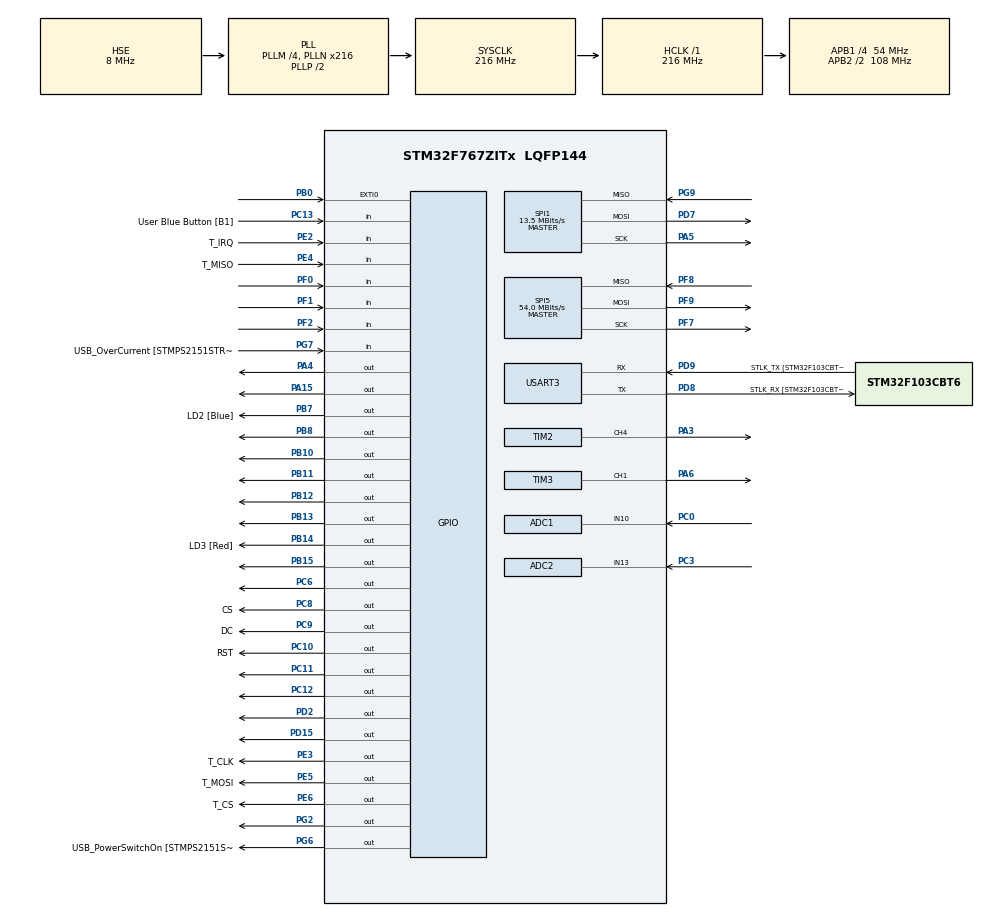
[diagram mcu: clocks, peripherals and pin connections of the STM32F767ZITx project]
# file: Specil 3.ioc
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ADC1.Channel-0\#ChannelRegularConversion=ADC_CHANNEL_10
ADC1.ContinuousConvMode=ENABLE
ADC1.EOCSelection=ADC_EOC_SEQ_CONV
ADC1.NbrOfConversionFlag=1
ADC1.Rank-0\#ChannelRegularConversion=1
ADC1.SamplingTime-0\#ChannelRegularConversion=ADC_SAMPLETIME_3CYCLES
ADC1.master=1
ADC2.Channel-0\#ChannelRegularConversion=ADC_CHANNEL_13
ADC2.NbrOfConversionFlag=1
ADC2.Rank-0\#ChannelRegularConversion=1
ADC2.SamplingTime-0\#ChannelRegularConversion=ADC_SAMPLETIME_3CYCLES
ADC3.Channel-0\#ChannelRegularConversion=ADC_CHANNEL_13
ADC3.NbrOfConversionFlag=1
ADC3.Rank-0\#ChannelRegularConversion=1
ADC3.SamplingTime-0\#ChannelRegularConversion=ADC_SAMPLETIME_3CYCLES
CORTEX_M7.ART_ACCLERATOR_ENABLE=1
CORTEX_M7.CPU_DCache=Enabled
CORTEX_M7.CPU_ICache=Enabled
CORTEX_M7.PREFETCH_ENABLE=1
Mcu.Family=STM32F7
Mcu.Name=STM32F767ZITx
Mcu.Package=LQFP144
NVIC.PriorityGroup=NVIC_PRIORITYGROUP_2
NVIC.TIM2_IRQn=true\:2\:0\:true\:false\:true\:true\:true\:true
PA1.GPIO_Label=RMII_REF_CLK [LAN8742A-CZ-TR_REFCLK0]
PA1.Signal=ETH_REF_CLK
PA13.GPIO_Label=TMS
PA13.Mode=Serial_Wire
PA13.Signal=SYS_JTMS-SWDIO
PA14.GPIO_Label=TCK
PA14.Mode=Serial_Wire
PA14.Signal=SYS_JTCK-SWCLK
PA15.Signal=GPIO_Output
PA2.GPIO_Label=RMII_MDIO [LAN8742A-CZ-TR_MDIO]
PA2.Signal=ETH_MDIO
PA3.Signal=S_TIM2_CH4
PA4.Signal=GPIO_Output
PA5.Mode=Full_Duplex_Master
PA5.Signal=SPI1_SCK
PA6.Signal=S_TIM3_CH1
PA7.GPIO_Label=RMII_CRS_DV [LAN8742A-CZ-TR_CRS_DV]
PA7.Signal=ETH_CRS_DV
PB0.Signal=GPXTI0
PB10.Signal=GPIO_Output
PB11.Signal=GPIO_Output
PB12.Signal=GPIO_Output
PB13.Signal=GPIO_Output
PB14.GPIO_Label=LD3 [Red]
PB14.Signal=GPIO_Output
PB15.Signal=GPIO_Output
PB3.GPIO_Label=SWO
PB3.Signal=SYS_JTDO-SWO
PB7.GPIO_Label=LD2 [Blue]
PB7.Signal=GPIO_Output
PB8.GPIO_FM8=__NULL
PB8.GPIO_Speed=GPIO_SPEED_FREQ_VERY_HIGH
PB8.PinState=GPIO_PIN_RESET
PB8.Signal=GPIO_Output
PB9.Signal=I2C1_SDA
PC0.Signal=ADCx_IN10
PC1.GPIO_Label=RMII_MDC [LAN8742A-CZ-TR_MDC]
PC1.Signal=ETH_MDC
PC10.GPIO_Label=RST
PC10.GPIO_Speed=GPIO_SPEED_FREQ_VERY_HIGH
PC10.Signal=GPIO_Output
PC11.Signal=GPIO_Output
PC12.Signal=GPIO_Output
PC13.GPIO_Label=User Blue Button [B1]
PC13.Signal=GPIO_Input
PC14/OSC32_IN.Mode=LSE-External-Oscillator
PC14/OSC32_IN.Signal=RCC_OSC32_IN
PC15/OSC32_OUT.Mode=LSE-External-Oscillator
PC15/OSC32_OUT.Signal=RCC_OSC32_OUT
PC3.Signal=ADCx_IN13
PC4.GPIO_Label=RMII_RXD0 [LAN8742A-CZ-TR_RXD0]
PC4.Signal=ETH_RXD0
PC5.GPIO_Label=RMII_RXD1 [LAN8742A-CZ-TR_RXD1]
PC5.Signal=ETH_RXD1
PC6.Signal=GPIO_Output
PC8.GPIO_Label=CS
PC8.GPIO_Speed=GPIO_SPEED_FREQ_VERY_HIGH
PC8.Signal=GPIO_Output
PC9.GPIO_Label=DC
PC9.GPIO_Speed=GPIO_SPEED_FREQ_VERY_HIGH
PC9.Signal=GPIO_Output
PD15.Signal=GPIO_Output
PD2.Signal=GPIO_Output
PD7.Mode=Full_Duplex_Master
PD7.Signal=SPI1_MOSI
PD8.GPIO_Label=STLK_RX [STM32F103CBT6_PA3]
PD8.Mode=Asynchronous
PD8.Signal=USART3_TX
PD9.GPIO_Label=STLK_TX [STM32F103CBT6_PA2]
PD9.Mode=Asynchronous
PD9.Signal=USART3_RX
PE2.GPIO_Label=T_IRQ
PE2.Signal=GPIO_Input
PE3.GPIO_Label=T_CLK
PE3.GPIO_Speed=GPIO_SPEED_FREQ_VERY_HIGH
PE3.Signal=GPIO_Output
PE4.GPIO_Label=T_MISO
PE4.Signal=GPIO_Input
PE5.GPIO_Label=T_MOSI
PE5.GPIO_Speed=GPIO_SPEED_FREQ_VERY_HIGH
PE5.Signal=GPIO_Output
PE6.GPIO_Label=T_CS
PE6.GPIO_Speed=GPIO_SPEED_FREQ_VERY_HIGH
PE6.Signal=GPIO_Output
PF0.Signal=GPIO_Input
PF1.Signal=GPIO_Input
PF2.Signal=GPIO_Input
PF7.Mode=Full_Duplex_Master
PF7.Signal=SPI5_SCK
PF8.Mode=Full_Duplex_Master
PF8.Signal=SPI5_MISO
PF9.Mode=Full_Duplex_Master
PF9.Signal=SPI5_MOSI
PG11.GPIO_Label=RMII_TX_EN [LAN8742A-CZ-TR_TXEN]
PG11.Signal=ETH_TX_EN
PG13.GPIO_Label=RMII_TXD0 [LAN8742A-CZ-TR_TXD0]
PG13.Signal=ETH_TXD0
PG2.Signal=GPIO_Output
PG6.GPIO_Label=USB_PowerSwitchOn [STMPS2151STR_EN]
PG6.Signal=GPIO_Output
PG7.GPIO_Label=USB_OverCurrent [STMPS2151STR_FAULT]
PG7.Signal=GPIO_Input
PG9.Mode=Full_Duplex_Master
PG9.Signal=SPI1_MISO
PH0/OSC_IN.GPIO_Label=MCO [STM32F103CBT6_PA8]
PH0/OSC_IN.Mode=HSE-External-Clock-Source
PH0/OSC_IN.Signal=RCC_OSC_IN
PH1/OSC_OUT.Mode=HSE-External-Clock-Source
PH1/OSC_OUT.Signal=RCC_OSC_OUT
ProjectManager.HeapSize=0x200
ProjectManager.StackSize=0x400
ProjectManager.TargetToolchain=STM32CubeIDE
RCC.48MHZClocksFreq_Value=24000000
RCC.AHBFreq_Value=216000000
RCC.APB1CLKDivider=RCC_HCLK_DIV4
RCC.APB1Freq_Value=54000000
RCC.APB1TimFreq_Value=108000000
RCC.APB2CLKDivider=RCC_HCLK_DIV2
RCC.APB2Freq_Value=108000000
RCC.APB2TimFreq_Value=216000000
RCC.CortexFreq_Value=216000000
RCC.HCLKFreq_Value=216000000
RCC.HSE_VALUE=8000000
RCC.HSI_VALUE=16000000
RCC.PLLM=4
RCC.PLLMUL=RCC_PLL_MUL9
RCC.PLLN=216
RCC.PLLQ=9
RCC.PLLSourceVirtual=RCC_PLLSOURCE_HSE
RCC.PRESCALERUSB=RCC_USBCLKSOURCE_PLL_DIV1_5
RCC.SYSCLKFreq_VALUE=216000000
RCC.SYSCLKSource=RCC_SYSCLKSOURCE_PLLCLK
RCC.SYSCLKSourceVirtual=RCC_SYSCLKSOURCE_PLLCLK
RCC.USBFreq_Value=48000000
RCC.VCOOutputFreq_Value=432000000
SH.ADCx_IN10.0=ADC1_IN10,IN10
SH.ADCx_IN13.0=ADC2_IN13,IN13
SH.ADCx_IN13.1=ADC3_IN13,IN13
SH.S_TIM2_CH4.0=TIM2_CH4,PWM Generation4 CH4
SH.S_TIM3_CH1.0=TIM3_CH1,PWM Generation1 CH1
SPI1.BaudRatePrescaler=SPI_BAUDRATEPRESCALER_8
SPI1.CalculateBaudRate=13.5 MBits/s
SPI1.Direction=SPI_DIRECTION_2LINES
SPI1.Mode=SPI_MODE_MASTER
SPI1.VirtualType=VM_MASTER
SPI5.CalculateBaudRate=54.0 MBits/s
SPI5.DataSize=SPI_DATASIZE_8BIT
SPI5.Direction=SPI_DIRECTION_2LINES
SPI5.Mode=SPI_MODE_MASTER
SPI5.NSSPMode=SPI_NSS_PULSE_DISABLE
SPI5.VirtualType=VM_MASTER
TIM1.ClockDivision=TIM_CLOCKDIVISION_DIV1
TIM1.Period=65536-1
TIM1.Prescaler=20000-1
TIM2.Channel-PWM\ Generation4\ CH4=TIM_CHANNEL_4
TIM2.Period=4000
TIM2.Prescaler=16000
TIM3.Channel-PWM\ Generation1\ CH1=TIM_CHANNEL_1
TIM3.Period=999
USART3.VirtualMode-Asynchronous=VM_ASYNC
VP_RNG_VS_RNG.Mode=RNG_Activate
VP_TIM1_VS_ClockSourceINT.Mode=Internal
VP_TIM2_VS_ClockSourceINT.Mode=Internal
board=NUCLEO-F767ZI

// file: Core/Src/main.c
/* USER CODE BEGIN Header */
/**
 ******************************************************************************
 * @file           : main.c
 * @brief          : Main program body
 ******************************************************************************
 * @attention
 *
 * <h2><center>&copy; Copyright (c) 2021 STMicroelectronics.
 * All rights reserved.</center></h2>
 *
 * This software component is licensed by ST under BSD 3-Clause license,
 * the "License"; You may not use this file except in compliance with the
 * License. You may obtain a copy of the License at:
 *                        opensource.org/licenses/BSD-3-Clause
 *
 ******************************************************************************
 */
/* USER CODE END Header */
#include "main.h"
#include "adc.h"
#include "rng.h"
#include "spi.h"
#include "tim.h"
#include "usart.h"
#include "gpio.h"

/* USER CODE BEGIN Includes */
#include "string.h"
#include "stdio.h"
#include "stdint.h"

// include got error ../Core/Src/main.c:31:10: fatal error: ILI9341_Touchscreen.h: No such file or directory
#include "ILI9341_Touchscreen.h"
#include "ILI9341_STM32_Driver.h"
#include "ILI9341_GFX.h"
#include "5x5_font.h"
#include "spi.h"
#include "snow_tiger.h"
#include "student_photo.h"
#include "bitmaps.h"
#include <stdint.h>
#include "poker.h"
#include "draw_poker.h"
/* USER CODE END Includes */

/* USER CODE BEGIN PTD */
void ft_printf(char *buffer);
int display_start_page(void);

/* USER CODE END PTD */

/* USER CODE BEGIN PD */
#define LIGHT_RED    0xFC90    // A lighter red shade
#define LIGHT_GREEN  0xBFE0    // A lighter green shade
#define LIGHT_BLUE   0x8DFF    // A lighter blue shade
/* USER CODE END PD */

/* USER CODE BEGIN PM */
typedef enum{
	JOY_MID,
	JOY_UP,
	JOY_DOWN,
	JOY_LEFT,
	JOY_RIGHT,
} joy_state;
// Define states for modifying players and bots
typedef enum {
    STATE_MODIFY_PLAYERS,
    STATE_MODIFY_BOTS,
    STATE_NONE
} State;

State current_state = STATE_NONE;
/* USER CODE END PM */

/* USER CODE BEGIN PV */
volatile uint32_t adc_val = 0;
int n_players = 1;
int n_bots = 1;
/* Private variables ---------------------------------------------------------*/
/* USER CODE END PV */

void SystemClock_Config(void);
/* USER CODE BEGIN PFP */
/* Private function prototypes -----------------------------------------------*/
uint16_t CRC_16_2(uint8_t*, uint8_t);
/* USER CODE END PFP */

/* USER CODE BEGIN 0 */
uint32_t previous_x_val = 0; // Initialize a variable to store the previous x_val
uint32_t previous_y_val = 0; // Initialize a variable to store the previous y_val
uint8_t pwm;
/* USER CODE END 0 */

int main(void)
{

  /* Enable the CPU Cache */

  /* Enable I-Cache---------------------------------------------------------*/
  SCB_EnableICache();

  /* Enable D-Cache---------------------------------------------------------*/
  SCB_EnableDCache();

  /* MCU Configuration--------------------------------------------------------*/

  /* Reset of all peripherals, Initializes the Flash interface and the Systick. */
  HAL_Init();

  /* Configure the system clock */
  SystemClock_Config();

  /* Initialize all configured peripherals */
  MX_GPIO_Init();
  MX_USART3_UART_Init();
  MX_SPI5_Init();
  MX_TIM1_Init();
  MX_RNG_Init();
  MX_TIM2_Init();
  MX_ADC1_Init();
  MX_TIM3_Init();
  MX_ADC2_Init();
  MX_ADC3_Init();
  MX_SPI1_Init();
  /* USER CODE BEGIN 2 */
	HAL_ADC_Start(&hadc1);

	ILI9341_Init();

	HAL_TIM_Base_Start_IT(&htim2);

	ILI9341_Fill_Screen(WHITE);
	ILI9341_Set_Rotation(SCREEN_HORIZONTAL_2);

	uint32_t random_number;

	// Enable RNG clock
	__HAL_RCC_RNG_CLK_ENABLE();

	// Initialize RNG
	RNG_HandleTypeDef hrng;
	hrng.Instance = RNG;
	HAL_RNG_Init(&hrng);

	// Get random number
	HAL_RNG_GenerateRandomNumber(&hrng, &random_number);

	// init joy stick;
	HAL_ADC_Start(&hadc1);
	HAL_ADC_Start(&hadc2);
	srand(random_number);
	while (display_start_page() != 1) {}
	resetScreen(5);
//	HAL_GPIO_WritePin(GPIOA, GPIO_PIN_15, 1);
//	HAL_GPIO_WritePin(GPIOA, GPIO_PIN_15, 1);
//	HAL_GPIO_WritePin(GPIOA, GPIO_PIN_15, 1);
	playPokerGame(n_players, n_bots);

  /* USER CODE END 2 */

  /* Infinite loop */
	while (1) {
	}
}

void SystemClock_Config(void)
{
  RCC_OscInitTypeDef RCC_OscInitStruct = {0};
  RCC_ClkInitTypeDef RCC_ClkInitStruct = {0};

  /** Configure LSE Drive Capability
  */
  HAL_PWR_EnableBkUpAccess();

  /** Configure the main internal regulator output voltage
  */
  __HAL_RCC_PWR_CLK_ENABLE();
  __HAL_PWR_VOLTAGESCALING_CONFIG(PWR_REGULATOR_VOLTAGE_SCALE1);

  /** Initializes the RCC Oscillators according to the specified parameters
  * in the RCC_OscInitTypeDef structure.
  */
  RCC_OscInitStruct.OscillatorType = RCC_OSCILLATORTYPE_HSE;
  RCC_OscInitStruct.HSEState = RCC_HSE_BYPASS;
  RCC_OscInitStruct.PLL.PLLState = RCC_PLL_ON;
  RCC_OscInitStruct.PLL.PLLSource = RCC_PLLSOURCE_HSE;
  RCC_OscInitStruct.PLL.PLLM = 4;
  RCC_OscInitStruct.PLL.PLLN = 216;
  RCC_OscInitStruct.PLL.PLLP = RCC_PLLP_DIV2;
  RCC_OscInitStruct.PLL.PLLQ = 9;
  RCC_OscInitStruct.PLL.PLLR = 2;
  if (HAL_RCC_OscConfig(&RCC_OscInitStruct) != HAL_OK)
  {
    Error_Handler();
  }

  /** Activate the Over-Drive mode
  */
  if (HAL_PWREx_EnableOverDrive() != HAL_OK)
  {
    Error_Handler();
  }

  /** Initializes the CPU, AHB and APB buses clocks
  */
  RCC_ClkInitStruct.ClockType = RCC_CLOCKTYPE_HCLK|RCC_CLOCKTYPE_SYSCLK
                              |RCC_CLOCKTYPE_PCLK1|RCC_CLOCKTYPE_PCLK2;
  RCC_ClkInitStruct.SYSCLKSource = RCC_SYSCLKSOURCE_PLLCLK;
  RCC_ClkInitStruct.AHBCLKDivider = RCC_SYSCLK_DIV1;
  RCC_ClkInitStruct.APB1CLKDivider = RCC_HCLK_DIV4;
  RCC_ClkInitStruct.APB2CLKDivider = RCC_HCLK_DIV2;

  if (HAL_RCC_ClockConfig(&RCC_ClkInitStruct, FLASH_LATENCY_7) != HAL_OK)
  {
    Error_Handler();
  }
}

/* USER CODE BEGIN 4 */

int display_start_page(void){
	// Poll and get values for ADC1 (y_val)
		    HAL_ADC_PollForConversion(&hadc1, HAL_MAX_DELAY);
		    uint32_t y_val = HAL_ADC_GetValue(&hadc1);

		    // Poll and get values for ADC2 (x_val)
		    HAL_ADC_PollForConversion(&hadc2, HAL_MAX_DELAY);
		    uint32_t x_val = HAL_ADC_GetValue(&hadc2);

		    // Define thresholds for increasing and decreasing player/bot count
		    const int threshold_increase = 3000;  // Value to increase by 1
		    const int threshold_decrease = 1000;   // Value to decrease by 1

		    // Define thresholds for switching modes
		    const int mode_switch_high = 3000;     // Threshold to switch to player mode
		    const int mode_switch_low = 1000;      // Threshold to switch to bot mode

		    char buffer[50];

		    // Check for switching modes based on y_val
		    if (y_val > mode_switch_high) {
		        // Switch to player mode
		        current_state = STATE_MODIFY_PLAYERS; // Set state to modify players
		        sprintf(buffer, "Switched to Player Mode\n");
		        ft_printf(buffer);
		        ILI9341_Draw_Text(buffer, 30, 100, BLACK, 3, WHITE);
		    }
		    else if (y_val < mode_switch_low) {
		        // Switch to bot mode
		        current_state = STATE_MODIFY_BOTS; // Set state to modify bots
		        sprintf(buffer, "Switched to Bot Mode\n");
		        ILI9341_Draw_Text(buffer, 30, 100, BLACK, 3, WHITE);
		        ft_printf(buffer);
		    }

		    // Modify players or bots based on the current state
		    if (current_state == STATE_MODIFY_PLAYERS) {
		        // Check for increasing players
		        if (x_val > threshold_increase && (n_players + n_bots < 4)) {
		            n_players++;  // Increase the number of players by 1
		            sprintf(buffer, "Players increased: %d\n", n_players);
		            ft_printf(buffer);
		        }
		        // Check for decreasing players
		        else if (x_val < threshold_decrease) {
		            if (n_players > 0) {
		                n_players--;  // Decrease the number of players by 1
		                sprintf(buffer, "Players decreased: %d\n", n_players);
		                ft_printf(buffer);
		            }
		        }
		    }
		    else if (current_state == STATE_MODIFY_BOTS) {
		        // Check for increasing bots
		        if (x_val > threshold_increase && (n_players + n_bots < 4)) {
		            n_bots++;  // Increase the number of bots by 1
		            sprintf(buffer, "Bots increased: %d\n", n_bots);
		            ft_printf(buffer);
		        }
		        // Check for decreasing bots
		        else if (x_val < threshold_decrease) {
		            if (n_bots > 0) {
		                n_bots--;  // Decrease the number of bots by 1
		                sprintf(buffer, "Bots decreased: %d\n", n_bots);
		                ft_printf(buffer);
		            }
		        }
		    }
		    else {
		        // No significant change in player/bot count
		        sprintf(buffer, "No significant change: x_val = %d, y_val = %d\n", x_val, y_val);
		        ft_printf(buffer);
		    }

		    // Update previous values for the next loop
		    previous_x_val = x_val;
		    previous_y_val = y_val;

		    HAL_Delay(300); // Delay for 300 milliseconds

		    // Update the display with the current number of players and bots
		    char bf[20];
		    sprintf(bf, "PLAYERS: %d", n_players);
		    ILI9341_Draw_Text(bf, 30, 30, BLACK, 3, WHITE);
		    sprintf(bf, "BOTS: %d", n_bots);
		    ILI9341_Draw_Text(bf, 30, 50, BLACK, 3, WHITE);
		    HAL_Delay(5000);
		    return (1);
}

void ft_printf(char *buffer)
{
	while(__HAL_UART_GET_FLAG(&huart3,UART_FLAG_TC)==RESET){}
	HAL_UART_Transmit(&huart3, (uint8_t*) buffer, strlen(buffer),1000);
}

uint16_t CRC_16_2(uint8_t *ptr, uint8_t length) {
	uint16_t crc = 0xFFFF;
	uint8_t s = 0x00;
	while (length--) {
		crc ^= *ptr++;
		for (s = 0; s < 8; s++) {
			if ((crc & 0x01) != 0) {
				crc >>= 1;
				crc ^= 0xA001;
			} else {
				crc >>= 1;
			}
		}
	}
	return crc;
}
/* USER CODE END 4 */

void Error_Handler(void)
{
	while (1) {
	}
}
